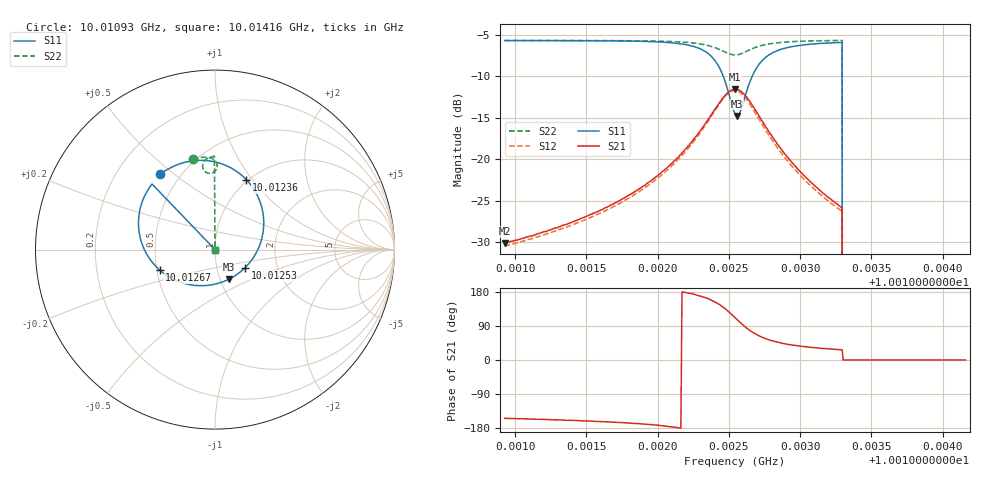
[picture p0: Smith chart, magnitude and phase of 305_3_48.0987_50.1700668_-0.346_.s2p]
#  HZ  S  RI  R  50.00
! Rohde & Schwarz Vector Network Analyzer
! Rohde-Schwarz,ZNB20-2Port,1311601062101988,3.16
! Created: UTC 12/23/2023, 4:05:12 AM
! freq[Hz]  re:S11  im:S11  re:S21  im:S21  re:S12  im:S12  re:S22  im:S22
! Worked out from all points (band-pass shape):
!   401 points, 10.01093 GHz to 10.01416 GHz, reference 50 ohm
!   highest |S21| = -11.54 dB at 10.01254 GHz (marker M1); lowest = -30.1 dB at 10.01093 GHz (marker M2)
!   |S21| within 3 dB of the highest: 10.01238 GHz to 10.0127 GHz (324 kHz wide, 0.00324 % of centre)
!   lowest |S11| = -14.8 dB at 10.01256 GHz (marker M3), VSWR 1.45, Z = 55.2 - j18.8 ohm
!   |S11| at or under -10 dB: 10.01246 GHz to 10.01266 GHz (202.5 kHz wide, 0.00202 % of centre); 10.0133 GHz to end of sweep
!   |S22| runs from - to -5.7 dB; largest |S21 - S12| = 0.013
!   S11 on the Smith chart (normalised r, x): 10.01093 GHz: 0.39, +0.44; 10.01236 GHz: 0.98, +0.94; 10.01253 GHz: 1.36, -0.29; 10.01267 GHz: 0.52, -0.13; 10.01416 GHz: 1.00, +0.00
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1.0010925e10  -0.3075 0.4185  -0.0281 -0.0138  -0.0262 -0.0148  -0.1236 0.5052
1.0011467e10  -0.2485 0.4555  -0.0418 -0.0147  -0.0392 -0.0165  -0.0854 0.5126
1.001175e10  -0.1986 0.477  -0.0558 -0.0146  -0.0528 -0.0169  -0.0629 0.5147
1.0012009e10  -0.12 0.4953  -0.0805 -0.0106  -0.0768 -0.0146  -0.0381 0.5136
1.0012235e10  0.0232 0.4825  -0.1261 0.0104  -0.1229 0.00339  -0.01 0.5036
1.0012365e10  0.175 0.3891  -0.1686 0.0609  -0.1682 0.051  0.00844 0.4821
1.0012413e10  0.2379 0.298  -0.1807 0.1015  -0.1832 0.0892  0.0121 0.467
1.0012462e10  0.2717 0.1573  -0.1781 0.1554  -0.1821 0.146  0.00783 0.4476
1.0012502e10  0.2432 0.0094  -0.1512 0.2069  -0.1573 0.1984  -0.00506 0.4322
1.0012535e10  0.1667 -0.1018  -0.1112 0.2399  -0.1161 0.2331  -0.0213 0.4253
1.0012543e10  0.1385 -0.1266  -0.0984 0.2459  -0.1046 0.2387  -0.0257 0.4248
1.0012559e10  0.0792 -0.1643  -0.073 0.2536  -0.0792 0.2466  -0.0347 0.4252
1.0012607e10  -0.1153 -0.1991  0.0016 0.2468  -0.00352 0.2397  -0.0574 0.4371
1.0012672e10  -0.309 -0.1133  0.0652 0.1963  0.0574 0.1902  -0.0689 0.4624
1.0012745e10  -0.4019 0.0195  0.0868 0.1394  0.0783 0.1355  -0.0651 0.4845
1.001285e10  -0.4262 0.1594  0.0835 0.0871  0.0765 0.0856  -0.0513 0.5021
1.0012955e10  -0.4128 0.2446  0.0723 0.0585  0.0665 0.0586  -0.0379 0.5107
1.0013085e10  -0.3879 0.3074  0.0602 0.039  0.0554 0.0396  -0.0235 0.5163
1.0013279e10  -0.3534 0.3622  0.0464 0.0241  0.043 0.0251  -0.00486 0.5199
1.0013319e10  0 0  0 0  0 0  0 0
1.0013627e10  0 0  0 0  0 0  0 0
1.001416e10  0 0  0 0  0 0  0 0
